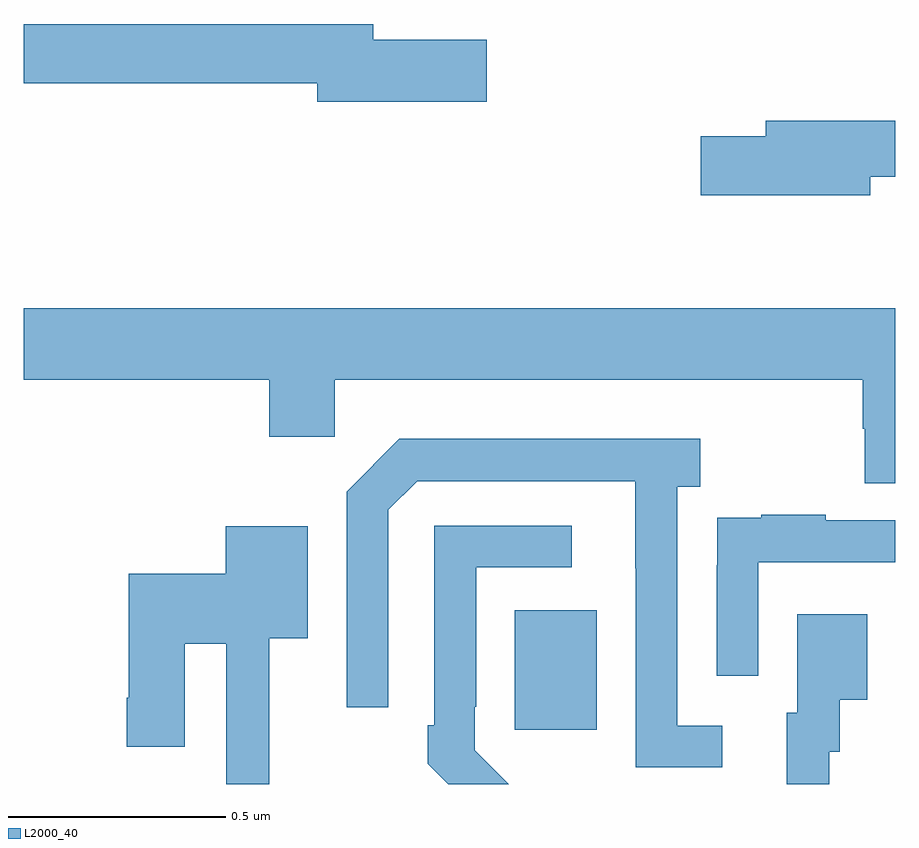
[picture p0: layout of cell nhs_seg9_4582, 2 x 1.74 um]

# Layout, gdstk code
import gdstk
lib = gdstk.Library(unit=1e-6, precision=1e-09)
def R(c, l, rs):  # rectangles x0, y0, x1, y1
    for r in rs: c.add(gdstk.rectangle(r[:2], r[2:], *l))
def P(c, l, *ps):  # polygons
    for p in ps: c.add(gdstk.Polygon(p, *l))
L2000_40 = (2000, 40)

nhs_seg9_4582 = lib.new_cell('nhs_seg9_4582')
R(nhs_seg9_4582, L2000_40, [(169.127,1187.625,169.315,1187.899)])
P(nhs_seg9_4582, L2000_40, [(169.063,1189.208),(168.802,1189.208),(168.802,1189.244),(168,1189.244),(168,1189.108),(168.674,1189.108),(168.674,1189.066),(169.063,1189.066)],
  [(169.942,1188.894),(170,1188.894),(170,1189.022),(169.703,1189.022),(169.703,1188.986),(169.554,1188.986),(169.554,1188.851),(169.942,1188.851)],
  [(170,1188.592),(168,1188.592),(168,1188.428),(168.563,1188.428),(168.563,1188.297),(168.714,1188.297),(168.714,1188.428),(169.925,1188.428),(169.925,1188.315),(169.93,1188.315),(169.93,1188.19),(170,1188.19)],
  [(169.603,1187.634),(169.5,1187.634),(169.5,1188.182),(169.552,1188.182),(169.552,1188.292),(168.862,1188.292),(168.741,1188.171),(168.741,1187.676),(168.837,1187.676),(168.837,1188.129),(168.903,1188.195),(169.403,1188.195),(169.403,1187.995),(169.404,1187.995),(169.404,1187.538),(169.603,1187.538)],
  [(169.686,1188.009),(170,1188.009),(170,1188.105),(169.841,1188.105),(169.841,1188.118),(169.693,1188.118),(169.693,1188.111),(169.591,1188.111),(169.591,1188.002),(169.59,1188.002),(169.59,1187.748),(169.686,1187.748)],
  [(169.035,1187.577),(169.035,1187.677),(169.038,1187.677),(169.038,1187.997),(169.258,1187.997),(169.258,1188.093),(168.942,1188.093),(168.942,1187.635),(168.927,1187.635),(168.927,1187.547),(168.974,1187.5),(169.113,1187.5)],
  [(168.563,1187.834),(168.652,1187.834),(168.652,1188.091),(168.464,1188.091),(168.464,1187.982),(168.241,1187.982),(168.241,1187.698),(168.236,1187.698),(168.236,1187.586),(168.37,1187.586),(168.37,1187.822),(168.465,1187.822),(168.465,1187.5),(168.563,1187.5)],
  [(169.848,1187.574),(169.873,1187.574),(169.873,1187.693),(169.936,1187.693),(169.936,1187.89),(169.775,1187.89),(169.775,1187.664),(169.751,1187.664),(169.751,1187.5),(169.848,1187.5)])

lib.write_gds('nhs_seg9_4582.gds')
